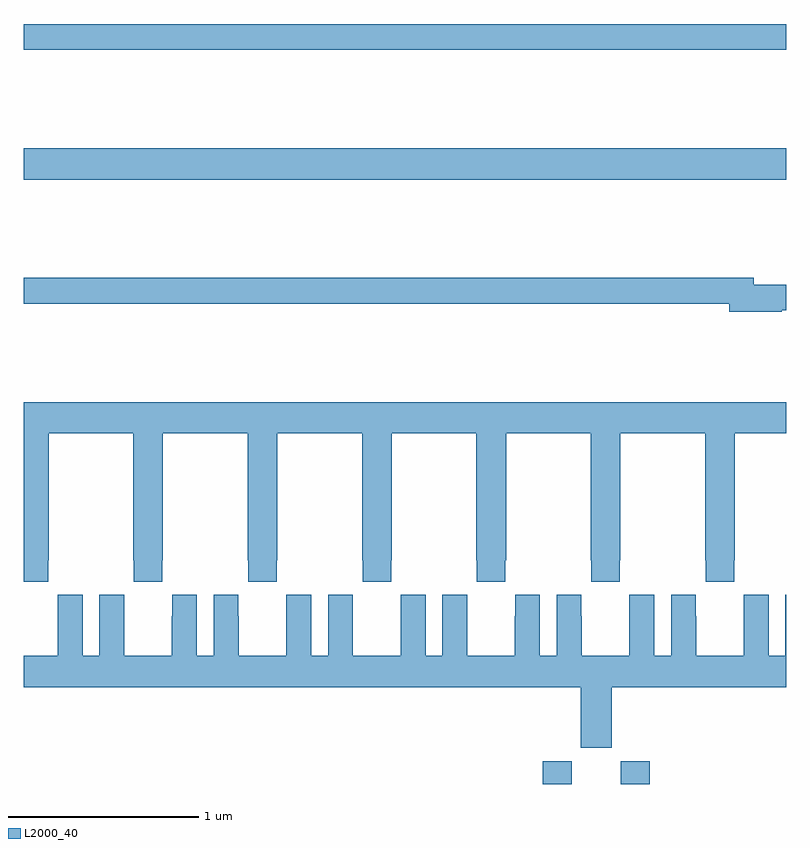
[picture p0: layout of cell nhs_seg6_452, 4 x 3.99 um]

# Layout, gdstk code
import gdstk
lib = gdstk.Library(unit=1e-6, precision=1e-09)
def R(c, l, rs):  # rectangles x0, y0, x1, y1
    for r in rs: c.add(gdstk.rectangle(r[:2], r[2:], *l))
def P(c, l, *ps):  # polygons
    for p in ps: c.add(gdstk.Polygon(p, *l))
L2000_40 = (2000, 40)

nhs_seg6_452 = lib.new_cell('nhs_seg6_452')
R(nhs_seg6_452, L2000_40, [(139.724,941.5,139.876,941.619), (140.132,941.5,140.285,941.619), (137,944.672,141,944.836), (137,945.352,141,945.488)])
P(nhs_seg6_452, L2000_40, [(140.978,943.985),(141,943.985),(141,944.12),(140.83,944.12),(140.83,944.156),(137,944.156),(137,944.02),(140.702,944.02),(140.702,943.978),(140.978,943.978)],
  [(137.127,942.673),(137.13,942.673),(137.13,943.34),(137.575,943.34),(137.575,942.673),(137.577,942.673),(137.577,942.561),(137.727,942.561),(137.727,942.673),(137.73,942.673),(137.73,943.34),(138.175,943.34),(138.175,942.673),(138.177,942.673),(138.177,942.561),(138.327,942.561),(138.327,942.673),(138.33,942.673),(138.33,943.34),(138.775,943.34),(138.775,942.673),(138.777,942.673),(138.777,942.561),(138.927,942.561),(138.927,942.673),(138.93,942.673),(138.93,943.34),(139.375,943.34),(139.375,942.673),(139.377,942.673),(139.377,942.561),(139.527,942.561),(139.527,942.673),(139.53,942.673),(139.53,943.34),(139.975,943.34),(139.975,942.673),(139.977,942.673),(139.977,942.561),(140.127,942.561),(140.127,942.673),(140.13,942.673),(140.13,943.34),(140.575,943.34),(140.575,942.673),(140.577,942.673),(140.577,942.561),(140.727,942.561),(140.727,942.673),(140.73,942.673),(140.73,943.34),(141,943.34),(141,943.504),(137,943.504),(137,942.561),(137.127,942.561)],
  [(140.086,942.008),(141,942.008),(141,942.493),(140.996,942.493),(140.996,942.172),(140.908,942.172),(140.908,942.493),(140.778,942.493),(140.778,942.38),(140.777,942.38),(140.777,942.172),(140.527,942.172),(140.527,942.38),(140.526,942.38),(140.526,942.493),(140.396,942.493),(140.396,942.172),(140.308,942.172),(140.308,942.493),(140.178,942.493),(140.178,942.38),(140.177,942.38),(140.177,942.172),(139.927,942.172),(139.927,942.38),(139.926,942.38),(139.926,942.493),(139.796,942.493),(139.796,942.172),(139.708,942.172),(139.708,942.493),(139.578,942.493),(139.578,942.38),(139.577,942.38),(139.577,942.172),(139.327,942.172),(139.327,942.38),(139.326,942.38),(139.326,942.493),(139.196,942.493),(139.196,942.172),(139.108,942.172),(139.108,942.493),(138.978,942.493),(138.978,942.38),(138.977,942.38),(138.977,942.172),(138.727,942.172),(138.727,942.38),(138.726,942.38),(138.726,942.493),(138.596,942.493),(138.596,942.172),(138.508,942.172),(138.508,942.493),(138.378,942.493),(138.378,942.38),(138.377,942.38),(138.377,942.172),(138.127,942.172),(138.127,942.38),(138.126,942.38),(138.126,942.493),(137.996,942.493),(137.996,942.172),(137.908,942.172),(137.908,942.493),(137.778,942.493),(137.778,942.38),(137.777,942.38),(137.777,942.172),(137.527,942.172),(137.527,942.38),(137.526,942.38),(137.526,942.493),(137.396,942.493),(137.396,942.172),(137.308,942.172),(137.308,942.493),(137.178,942.493),(137.178,942.38),(137.177,942.38),(137.177,942.172),(137,942.172),(137,942.008),(139.922,942.008),(139.922,941.691),(140.086,941.691)])

lib.write_gds('nhs_seg6_452.gds')
